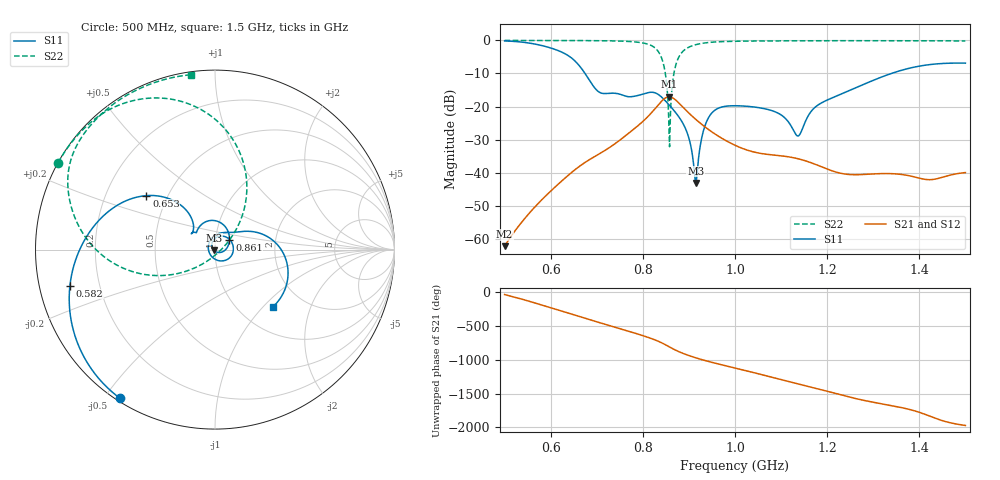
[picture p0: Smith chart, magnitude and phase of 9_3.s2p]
! TOUCHSTONE file generated by CST MICROWAVE STUDIO
! Date and time: Fri Oct  2 16:39:49 2020
! Project name: Scenario_1_Free_Space_out_of_line.cst
! Parameters = {Lambda=346.42; Step_1=17.321; dy1=208.912; dx1=520; L_HA=400; MT=2.54; Rad_Dielectric=30; Rad_Lower=7.3; Rad_Upper=30; a_HA=580; a_WG=246; b_HA=500; b_WG=121; c_HA=0; c_WG=187; d_feed=85; h_feed=15; h_lower=18; h_upper=40}
! Header version: 2018
! Port assignment regex: !\s*Touchstone port\s*([0-9]+)\s*=\s*(CST MWS port|CST DS port)\s*([0-9]+|Zmin|Zmax)\s*\(\"(.*)\"\)(\s*mode\s*([0-9]+))?.*
! Touchstone port assignment:
! Touchstone port 1 = CST MWS port 1 ("")
! Touchstone port 2 = CST MWS port 2 ("")
# GHz S DB R 50
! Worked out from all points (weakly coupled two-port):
!   1003 points, 500 MHz to 1.5 GHz, reference 50 ohm
!   highest |S21| = -17.07 dB at 857 MHz (marker M1); lowest = -62.3 dB at 500 MHz (marker M2)
!   lowest |S11| = -43.2 dB at 915 MHz (marker M3), VSWR 1.01, Z = 49.5 - j0.495 ohm
!   |S11| at or under -10 dB: 674.6 MHz to 1.339 GHz (664.7 MHz wide, 66 % of centre)
!   |S22| runs from -32.2 to 0.0 dB; largest |S21 - S12| = 6.7e-05
!   S11 on the Smith chart (normalised r, x): 500 MHz: 0.01, -0.55; 582 MHz: 0.09, -0.12; 653 MHz: 0.38, +0.30; 861 MHz: 1.17, +0.13; 1.5 GHz: 1.41, -1.14
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0.5  -0.15 -122.6  -62.28 -31.4  -62.28 -31.4  -0.01 151.1
0.582  -1.59 -166.0  -48.05 170.5  -48.05 170.5  -0.02 145.4
0.653  -6.27 141.8  -39.11 23.6  -39.11 23.6  -0.04 139.6
0.667  -8.52 131.6  -37.65 -6.2  -37.65 -6.2  -0.05 138.3
0.706  -15.71 137.2  -34.29 -87.4  -34.29 -87.4  -0.08 134.0
0.779  -16.96 136.3  -27.00 125.3  -27.00 125.3  -0.40 120.5
0.834  -16.40 76.5  -19.42 -4.7  -19.42 -4.7  -3.46 85.0
0.847  -18.00 55.2  -17.60 -47.5  -17.60 -47.5  -8.57 61.6
0.857  -19.52 40.4  -17.07 -84.7  -17.07 -84.7  -28.24 5.7
0.861  -20.15 34.8  -17.16 -99.8  -17.16 -99.8  -18.87 -132.4
0.867  -21.13 26.3  -17.58 -121.5  -17.58 -121.5  -10.33 -152.0
0.876  -22.72 13.3  -18.65 -151.3  -18.65 -151.3  -5.65 -168.6
0.898  -28.69 -24.2  -21.74 149.1  -21.74 149.1  -2.16 169.3
0.915  -43.16 -134.0  -23.92 110.8  -23.92 110.8  -1.28 160.3
0.93  -28.13 115.4  -25.65 80.5  -25.65 80.5  -0.85 154.8
0.943  -23.27 83.7  -27.02 56.1  -27.02 56.1  -0.62 151.0
1  -19.77 8.0  -31.73 -39.6  -31.73 -39.6  -0.25 140.2
1.091  -21.84 -49.0  -34.79 162.4  -34.79 162.4  -0.14 130.4
1.136  -28.92 -160.2  -35.78 85.1  -35.78 85.1  -0.11 126.6
1.167  -21.19 81.5  -37.12 33.1  -37.12 33.1  -0.09 124.1
1.334  -10.26 12.8  -40.31 130.2  -40.30 130.2  -0.09 111.4
1.5  -6.87 -44.9  -39.99 -170.8  -40.05 -170.8  -0.15 97.8
